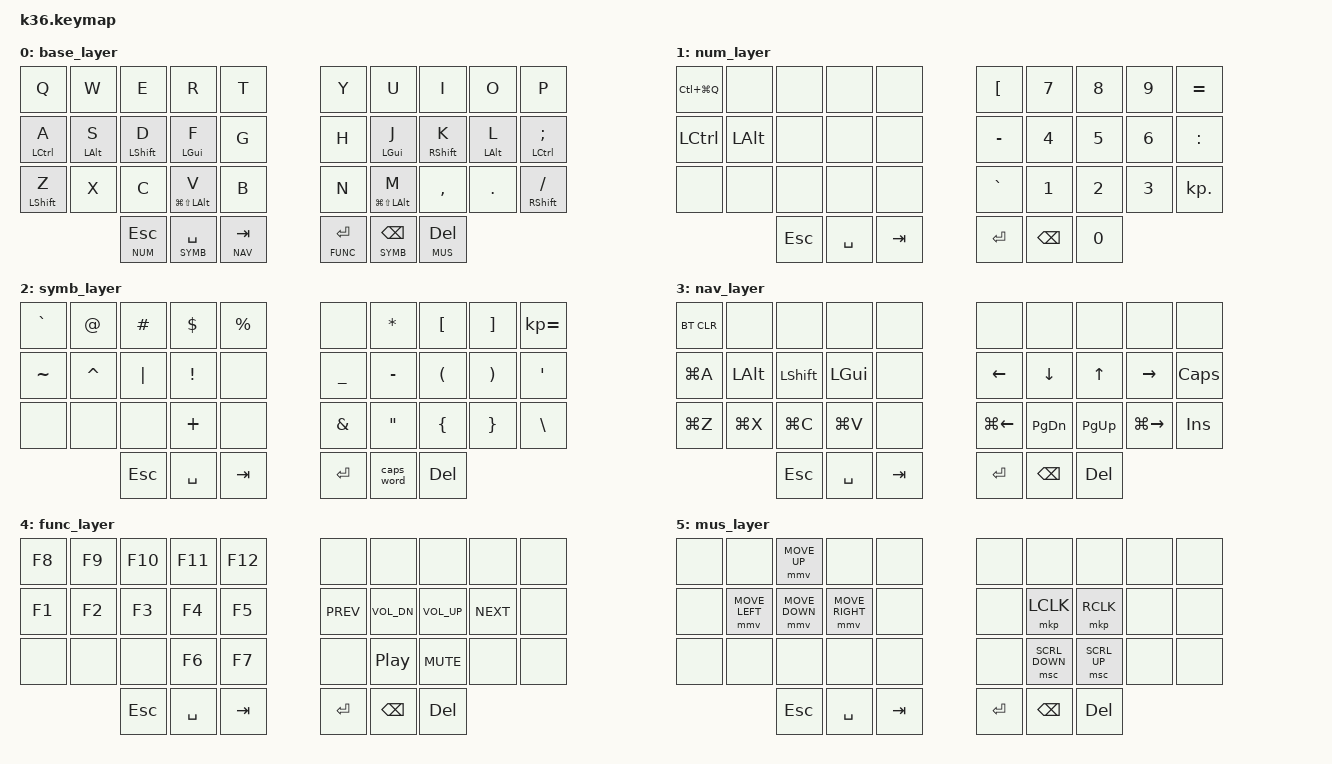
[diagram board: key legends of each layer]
#include <behaviors.dtsi>
#include <behaviors/mouse_keys.dtsi>
#include <dt-bindings/zmk/keys.h>
#include <dt-bindings/zmk/bt.h>
#include <dt-bindings/zmk/ext_power.h>
#include <dt-bindings/zmk/outputs.h>
#define ZMK_POINTING_DEFAULT_MOVE_VAL 1600  // default: 600
#define ZMK_POINTING_DEFAULT_SCRL_VAL 15    // default: 10
#include <dt-bindings/zmk/pointing.h>
#include <zephyr/dt-bindings/input/input-event-codes.h>


#define LT0  4  // left-top row
#define LT1  3
#define LT2  2
#define LT3  1
#define LT4  0
#define RT0  5  // right-top row
#define RT1  6
#define RT2  7
#define RT3  8
#define RT4  9
#define LM0 14  // left-middle row
#define LM1 13
#define LM2 12
#define LM3 11
#define LM4 10
#define RM0 15  // right-middle row
#define RM1 16
#define RM2 17
#define RM3 18
#define RM4 19
#define LB0 24  // left-bottom row
#define LB1 23
#define LB2 22
#define LB3 21
#define LB4 20
#define RB0 25  // right-bottom row
#define RB1 26
#define RB2 27
#define RB3 28
#define RB4 29
#define LH0 32  // left thumb keys
#define LH1 31
#define LH2 30
#define RH0 33  // right thumb keys
#define RH1 34
#define RH2 35

#define HM_TAPPING_TERM 215
#define HM_TAPPING_TERM_FAST 200
#define HM_PRIOR_IDLE 150

#define KEYS_L LT0 LT1 LT2 LT3 LT4 LM0 LM1 LM2 LM3 LM4 LB0 LB1 LB2 LB3 LB4
#define KEYS_R RT0 RT1 RT2 RT3 RT4 RM0 RM1 RM2 RM3 RM4 RB0 RB1 RB2 RB3 RB4
#define KEYS_T LH2 LH1 LH0 RH0 RH1 RH2

#define BASE 0
#define NUM 1
#define SYMB 2
#define NAV 3
#define FUNC 4
#define MUS 5
  
&msc {
  time-to-max-speed-ms = <900>;                 /* <--- How long time until max speed is reached */
};
&mmv {
	time-to-max-speed-ms = <400>;             /* <--- How long time until max speed is reached (default: 500) */
};
&lt {
	flavor = "balanced";
	tapping-term-ms = <200>;
	quick-tap-ms = <199>;               
    	//global-quick-tap;  
	//hold-trigger-on-release; 
};

/ {

behaviors {
	hm_l: homerow_mods_left {
	compatible = "zmk,behavior-hold-tap";
	#binding-cells = <2>;
	bindings = <&kp>,  <&kp>;
		flavor = "balanced";
		tapping-term-ms = <HM_TAPPING_TERM>;
		quick-tap-ms = <175>;               
		require-prior-idle-ms = <HM_PRIOR_IDLE>;
		hold-trigger-key-positions = <KEYS_R KEYS_T>;
		hold-trigger-on-release;
	};

	hm_r: homerow_mods_right {
		compatible = "zmk,behavior-hold-tap";
		#binding-cells = <2>;
		bindings = <&kp>, <&kp>;
		flavor = "balanced";
		tapping-term-ms = <HM_TAPPING_TERM>;
		quick-tap-ms = <175>;               
		require-prior-idle-ms = <HM_PRIOR_IDLE>;
		hold-trigger-key-positions = <KEYS_L KEYS_T>;
		hold-trigger-on-release;
	};

	hm_shift_l: hm_shift_l {
		compatible = "zmk,behavior-hold-tap";
		#binding-cells = <2>;
		bindings = <&kp>, <&kp>;
		flavor = "balanced";
		tapping-term-ms = <HM_TAPPING_TERM_FAST>;
		quick-tap-ms = <175>;               
		require-prior-idle-ms = <HM_PRIOR_IDLE>;
		hold-trigger-key-positions = <KEYS_R KEYS_T>;
		hold-trigger-on-release;
	};

	hm_shift_r: hm_shift_r {
		compatible = "zmk,behavior-hold-tap";
		#binding-cells = <2>;
		bindings = <&kp>, <&kp>;
		flavor = "balanced";
		tapping-term-ms = <HM_TAPPING_TERM_FAST>;
		quick-tap-ms = <175>;               
		require-prior-idle-ms = <HM_PRIOR_IDLE>;
		hold-trigger-key-positions = <KEYS_L KEYS_T>;
		hold-trigger-on-release;
	};

	hm: homerow_mods {
		compatible = "zmk,behavior-hold-tap";
		label = "HOMEROW_MODS";
		#binding-cells = <2>;
		flavor = "balanced";
		tapping-term-ms = <200>;
		quick-tap-ms = <199>;               
    		//global-quick-tap;        
		bindings = <&kp>, <&kp>;
		hold-trigger-on-release; 
        require-prior-idle-ms = <150>; 
	};
  };



	keymap {
		compatible = "zmk,keymap";

		base_layer {
			bindings = <
// ╭───────────────┬───────────────┬───────────────┬───────────────┬───────────────╮   ╭───────────────┬───────────────┬───────────────┬───────────────┬───────────────╮
	  &kp Q            &kp W          &kp E           &kp R           &kp T              &kp Y          &kp U            &kp I            &kp O          &kp P   
// ├───────────────┼───────────────┼───────────────┼───────────────┼───────────────┤   ├───────────────┼───────────────┼───────────────┼───────────────┼───────────────┤
      &hm_l LCTRL A      &hm_l LALT S  &hm_shift_l LSHIFT D &hm_l LGUI F      &kp G               &kp H          &hm_r LGUI J &hm_shift_r RSHIFT K     &hm_r LALT L     &hm_r LCTRL SEMI
// ├───────────────┼───────────────┼───────────────┼───────────────┼───────────────┤   ├───────────────┼───────────────┼───────────────┼───────────────┼───────────────┤
	  &hm_l LSHIFT Z     &kp X         &kp C     &hm LG(LS(LALT)) V     &kp B              &kp N          &hm LG(LS(LALT)) M  &kp COMMA      &kp DOT        &hm_r RSHIFT FSLH
// ╰───────────────┴───────────────┴───────────────┼───────────────┼───────────────┤   ├───────────────┼───────────────┼───────────────┴───────────────┴───────────────╯
	                                   &lt NUM ESC   &lt SYMB SPC     &lt NAV TAB     &lt FUNC RET   &lt SYMB BSPC    &lt MUS DEL
//                                 ╰───────────────┴───────────────┴───────────────╯   ╰───────────────┴───────────────┴───────────────╯
>;
		};

		num_layer {
			bindings = <
// ╭───────────────┬───────────────┬───────────────┬───────────────┬───────────────╮   ╭───────────────┬───────────────┬───────────────┬───────────────┬───────────────╮
       &kp LC(LG(Q))   &none           &none          &none           &none                &kp LBKT        &kp N7         &kp N8          &kp N9          &kp EQUAL
// ├───────────────┼───────────────┼───────────────┼───────────────┼───────────────┤   ├───────────────┼───────────────┼───────────────┼───────────────┼───────────────┤
       &kp LCTRL       &kp LALT        &none          &none           &none                &kp MINUS       &kp N4         &kp N5          &kp N6          &kp COLON
// ├───────────────┼───────────────┼───────────────┼───────────────┼───────────────┤   ├───────────────┼───────────────┼───────────────┼───────────────┼───────────────┤
       &none           &none           &none          &none           &none                &kp GRAVE       &kp N1         &kp N2          &kp N3          &kp KP_DOT 
// ╰───────────────┴───────────────┴───────────────┼───────────────┼───────────────┤   ├───────────────┼───────────────┼───────────────┴───────────────┴───────────────╯
	                                   &kp ESC        &kp SPC       &kp TAB            &kp RET         &kp BSPC       &kp N0
//                                 ╰───────────────┴───────────────┴───────────────╯   ╰───────────────┴───────────────┴───────────────╯
>;
		};

		symb_layer {
			bindings = <
// ╭───────────────┬───────────────┬───────────────┬───────────────┬───────────────╮   ╭───────────────┬───────────────┬───────────────┬───────────────┬───────────────╮
	   &kp GRAVE       &kp AT          &kp HASH        &kp DOLLAR      &kp PRCNT          &none           &kp ASTRK         &kp LBKT        &kp RBKT       &kp KP_EQUAL
// ├───────────────┼───────────────┼───────────────┼───────────────┼───────────────┤   ├───────────────┼───────────────┼───────────────┼───────────────┼───────────────┤
	   &kp TILDE       &kp CARET       &kp PIPE        &kp EXCL        &none              &kp UNDER       &kp MINUS         &kp LPAR        &kp RPAR       &kp SQT       
// ├───────────────┼───────────────┼───────────────┼───────────────┼───────────────┤   ├───────────────┼───────────────┼───────────────┼───────────────┼───────────────┤
	   &none           &none           &none           &kp PLUS        &none              &kp AMPS        &kp DOUBLE_QUOTES &kp LBRC        &kp RBRC       &kp BACKSLASH         
// ╰───────────────┴───────────────┴───────────────┼───────────────┼───────────────┤   ├───────────────┼───────────────┼───────────────┴───────────────┴───────────────╯
	                                   &kp ESC         &kp SPC        &kp TAB             &kp RET         &caps_word        &kp DEL
//                                 ╰───────────────┴───────────────┴───────────────╯   ╰───────────────┴───────────────┴───────────────╯
>;
		};

		nav_layer {
			bindings = <
// ╭───────────────┬───────────────┬───────────────┬───────────────┬───────────────╮   ╭───────────────┬───────────────┬───────────────┬───────────────┬───────────────╮
	&bt BT_CLR           &none           &none           &none           &none              &none         &none            &none           &none         &none  
// ├───────────────┼───────────────┼───────────────┼───────────────┼───────────────┤   ├───────────────┼───────────────┼───────────────┼───────────────┼───────────────┤
	&kp LG(A)         &kp LALT        &kp LSHIFT      &kp LGUI        &none              &kp LEFT        &kp DOWN        &kp UP          &kp RIGHT      &kp CAPSLOCK
// ├───────────────┼───────────────┼───────────────┼───────────────┼───────────────┤   ├───────────────┼───────────────┼───────────────┼───────────────┼───────────────┤
	&kp LG(Z)         &kp LG(X)       &kp LG(C)       &kp LG(V)       &none              &kp LG(LEFT)        &kp PG_DN    &kp PG_UP     &kp LG(RIGHT)   &kp INSERT
// ╰───────────────┴───────────────┴───────────────┼───────────────┼───────────────┤   ├───────────────┼───────────────┼───────────────┴───────────────┴───────────────╯
	                                   &kp ESC          &kp SPC       &kp TAB              &kp RET         &kp BSPC        &kp DEL
//                                 ╰───────────────┴───────────────┴───────────────╯   ╰───────────────┴───────────────┴───────────────╯
>;
		};

		func_layer {
			bindings = <
// ╭───────────────┬───────────────┬───────────────┬───────────────┬───────────────╮   ╭───────────────┬───────────────┬───────────────┬───────────────┬───────────────╮
	   &kp F8           &kp F9           &kp F10        &kp F11       &kp F12               &none         &none           &none           &none           &none
// ├───────────────┼───────────────┼───────────────┼───────────────┼───────────────┤   ├───────────────┼───────────────┼───────────────┼───────────────┼───────────────┤
	   &kp F1           &kp F2           &kp F3         &kp F4        &kp F5                &kp C_PREV    &kp C_VOL_DN    &kp C_VOL_UP    &kp C_NEXT      &none
// ├───────────────┼───────────────┼───────────────┼───────────────┼───────────────┤   ├───────────────┼───────────────┼───────────────┼───────────────┼───────────────┤
	   &none            &none            &none          &kp F6        &kp F7                &none         &kp C_PLAY_PAUSE &kp K_MUTE      &none           &none
// ╰───────────────┴───────────────┴───────────────┼───────────────┼───────────────┤   ├───────────────┼───────────────┼───────────────┴───────────────┴───────────────╯
      	                                &kp ESC         &kp SPC       &kp TAB               &kp RET       &kp BSPC        &kp DEL
//                                 ╰───────────────┴───────────────┴───────────────╯   ╰───────────────┴───────────────┴───────────────╯
>;
		};

		mus_layer {
			bindings = <
// ╭───────────────┬───────────────┬───────────────┬───────────────┬───────────────╮   ╭───────────────┬───────────────┬───────────────┬───────────────┬───────────────╮
	    &none           &none           &mmv MOVE_UP    &none           &none              &none         &none            &none           &none         &none  
// ├───────────────┼───────────────┼───────────────┼───────────────┼───────────────┤   ├───────────────┼───────────────┼───────────────┼───────────────┼───────────────┤
	    &none           &mmv MOVE_LEFT  &mmv MOVE_DOWN  &mmv MOVE_RIGHT &none              &none         &mkp LCLK        &mkp RCLK       &none         &none  
// ├───────────────┼───────────────┼───────────────┼───────────────┼───────────────┤   ├───────────────┼───────────────┼───────────────┼───────────────┼───────────────┤
	    &none           &none           &none           &none           &none              &none         &msc SCRL_DOWN  &msc SCRL_UP  &none         &none  
// ╰───────────────┴───────────────┴───────────────┼───────────────┼───────────────┤   ├───────────────┼───────────────┼───────────────┴───────────────┴───────────────╯
      	                                &kp ESC         &kp SPC       &kp TAB               &kp RET       &kp BSPC        &kp DEL
//                                 ╰───────────────┴───────────────┴───────────────╯   ╰───────────────┴───────────────┴───────────────╯
>;
		};
	};
};
